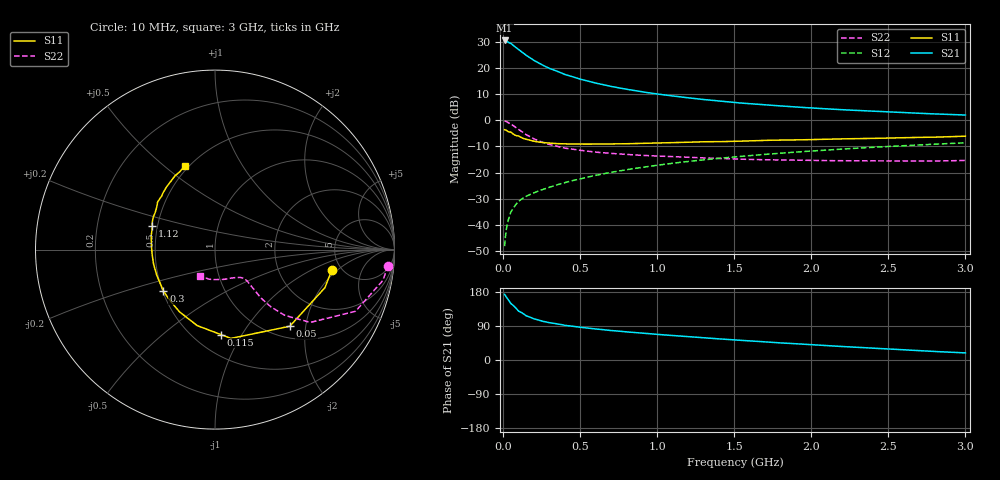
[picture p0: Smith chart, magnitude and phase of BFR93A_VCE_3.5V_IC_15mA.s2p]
! Infineon Technologies  Discrete & RF Semiconductors
! BFR93A
! VCE =  3.5 V,  IC =  15 mA
! Common Emitter S-Parameters:  Nov 2015
# GHz  S  MA  R  50
!  f  S11  S21  S12  S22
! GHz  MAG  ANG  MAG  ANG  MAG  ANG  MAG  ANG
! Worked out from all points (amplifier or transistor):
!   180 points, 10 MHz to 3 GHz, reference 50 ohm
!   highest |S21| = 30.6 dB at 10 MHz (marker M1)
!   |S21| within 3 dB of that: start of sweep to 90.21 MHz
!   unconditionally stable (mu >= 1): 481.3 MHz to 2.877 GHz
!   at 160 MHz: K = 0.62, MSG = 26.7 dB, |S12| = -28.8 dB
!   at 1.22 GHz: K = 1.08, MAG = 10.3 dB, |S12| = -15.6 dB
!   at 3 GHz: K = 0.99, MSG = 5.3 dB, |S12| = -8.6 dB
!   S11 on the Smith chart (normalised r, x): 10 MHz: 4.21, -1.67; 50 MHz: 1.23, -1.63; 115 MHz: 0.67, -0.82; 300 MHz: 0.51, -0.27; 1.12 GHz: 0.47, +0.15; 3 GHz: 0.48, +0.59
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0.01  0.6612 -9.7  33.82 173.0  0.0039 85.9  0.9685 -5.3
0.02  0.6482 -19.1  33.16 166.5  0.0078 80.8  0.9511 -10.4
0.05  0.5967 -45.7  29.74 149.2  0.0174 71.3  0.8551 -23.7
0.1  0.5028 -79.8  22.86 129.2  0.0282 62.2  0.6681 -37.4
0.115  0.4745 -86.1  21.18 126.1  0.0303 61.1  0.6264 -38.9
0.15  0.4348 -103.2  17.59 116.7  0.0352 58.9  0.5312 -43.4
0.2  0.3992 -119.7  14.07 108.7  0.0409 59.3  0.4433 -45.7
0.24  0.3808 -129.7  12.11 104.1  0.0455 59.9  0.396 -46.2
0.26  0.3754 -134.1  11.28 101.9  0.0478 60.3  0.3763 -46.4
0.3  0.3681 -141.4  9.894 98.4  0.0523 61.3  0.3445 -46.2
0.4  0.3548 -156.0  7.574 91.5  0.0641 63.5  0.2937 -45.3
0.5  0.3517 -166.6  6.151 86.3  0.076 64.7  0.2656 -44.5
0.52  0.3511 -168.2  5.953 85.5  0.0785 64.8  0.2617 -44.5
0.6  0.3512 -174.4  5.176 81.9  0.0883 65.2  0.2462 -44.3
0.7  0.3532 179.4  4.467 77.8  0.1009 65.4  0.2327 -44.7
0.8  0.3563 173.8  3.937 74.2  0.1133 65.5  0.2222 -45.5
1.02  0.3675 162.9  3.134 67.0  0.1407 64.3  0.2064 -48.6
1.12  0.375 159.1  2.878 64.0  0.1532 63.5  0.2003 -50.8
1.52  0.3975 145.6  2.169 52.5  0.2016 60.0  0.1815 -61.2
2.02  0.4298 132.0  1.712 40.0  0.2606 54.7  0.1705 -77.7
2.52  0.4603 120.5  1.439 28.7  0.3184 48.6  0.1673 -97.0
3  0.4969 109.7  1.263 18.7  0.3715 42.6  0.1709 -119.7
